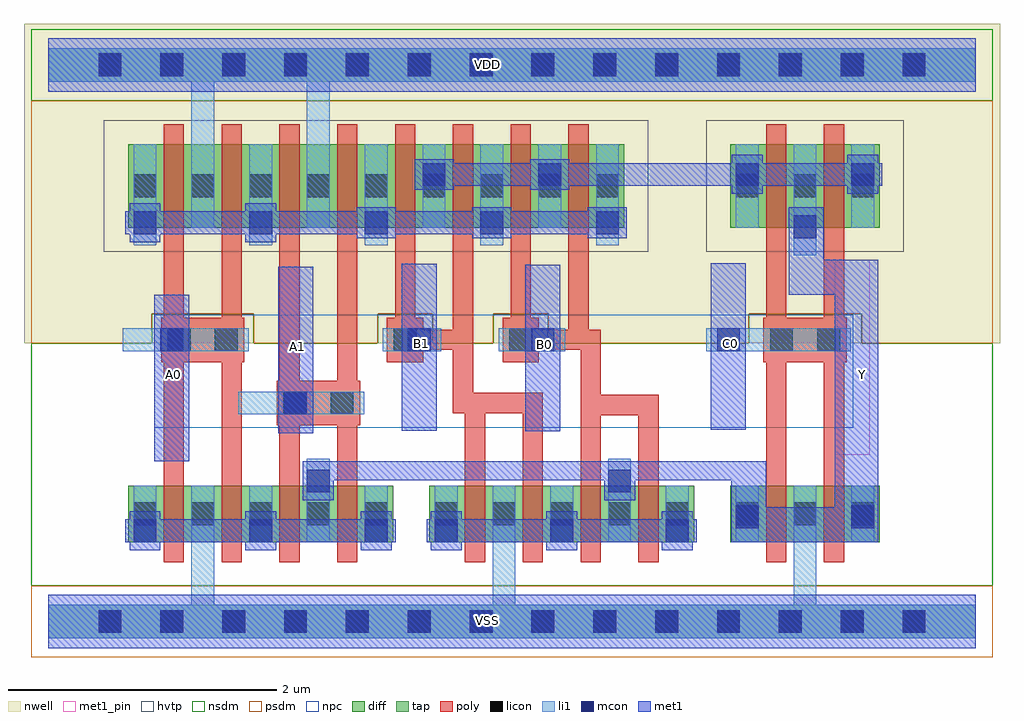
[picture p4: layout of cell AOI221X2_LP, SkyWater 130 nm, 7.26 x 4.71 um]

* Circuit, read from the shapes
.subckt AOI221X2_LP A0 A1 B0 B1 C0 VDD VSS Y
XM1 VSS A0 n1 VSS sky130_fd_pr__nfet_01v8 w=0.42 l=0.15 m=2
XM2 Y A1 n1 VSS sky130_fd_pr__nfet_01v8 w=0.42 l=0.15 m=2
XM3 VSS B1 n2 VSS sky130_fd_pr__nfet_01v8 w=0.42 l=0.15 m=2
XM4 Y B0 n2 VSS sky130_fd_pr__nfet_01v8 w=0.42 l=0.15 m=2
XM5 VSS C0 Y VSS sky130_fd_pr__nfet_01v8 w=0.42 l=0.15 m=2
XM6 VDD A0 n3 VDD sky130_fd_pr__pfet_01v8_hvt w=0.62 l=0.15 m=2
XM7 VDD A1 n3 VDD sky130_fd_pr__pfet_01v8_hvt w=0.62 l=0.15 m=2
XM8 n4 B1 n3 VDD sky130_fd_pr__pfet_01v8_hvt w=0.62 l=0.15 m=2
XM9 n4 B0 n3 VDD sky130_fd_pr__pfet_01v8_hvt w=0.62 l=0.15 m=2
XM10 Y C0 n4 VDD sky130_fd_pr__pfet_01v8_hvt w=0.62 l=0.15 m=2
.ends

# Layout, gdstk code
from math import pi, radians
import gdstk
lib = gdstk.Library(unit=1e-6, precision=1e-09)
def R(c, l, rs):  # rectangles x0, y0, x1, y1
    for r in rs: c.add(gdstk.rectangle(r[:2], r[2:], *l))
def A(c, l, x, y, w, h, nx, ny, dx, dy):  # array of equal rectangles
    R(c, l, [(x+i*dx, y+j*dy, x+i*dx+w, y+j*dy+h) for i in range(nx) for j in range(ny)])
def P(c, l, *ps):  # polygons
    for p in ps: c.add(gdstk.Polygon(p, *l))
nwell = (64, 20)
diff = (65, 20)
tap = (65, 44)
poly = (66, 20)
licon = (66, 44)
li1 = (67, 20)
mcon = (67, 44)
met1_pin = (68, 16)
met1 = (68, 20)
hvtp = (78, 44)
nsdm = (93, 44)
psdm = (94, 20)
npc = (95, 20)

l1m1_c_cdns_752016907009 = lib.new_cell('L1M1_C_CDNS_752016907009')
R(l1m1_c_cdns_752016907009, li1, [(-0.085,-0.165,0.085,0.085)])
R(l1m1_c_cdns_752016907009, mcon, [(-0.085,-0.085,0.085,0.085)])
R(l1m1_c_cdns_752016907009, met1, [(-0.115,-0.145,0.115,0.145)])

pyl1con_c_cdns_752016907 = lib.new_cell('PYL1CON_C_CDNS_752016907000')
R(pyl1con_c_cdns_752016907, poly, [(-0.135,-0.165,0.135,0.165)])
R(pyl1con_c_cdns_752016907, licon, [(-0.085,-0.085,0.085,0.085)])
R(pyl1con_c_cdns_752016907, npc, [(-0.185,-0.185,0.185,0.185)])

l1m1_c_cdns_752016907003 = lib.new_cell('L1M1_C_CDNS_752016907003')
R(l1m1_c_cdns_752016907003, li1, [(-0.165,-0.085,0.165,0.085)])
R(l1m1_c_cdns_752016907003, mcon, [(-0.085,-0.085,0.085,0.085)])
R(l1m1_c_cdns_752016907003, met1, [(-0.115,-0.145,0.115,0.145)])

l1m1_c_cdns_752016907001 = lib.new_cell('L1M1_C_CDNS_752016907001')
R(l1m1_c_cdns_752016907001, li1, [(-0.085,-0.165,0.085,0.165)])
R(l1m1_c_cdns_752016907001, mcon, [(-0.085,-0.085,0.085,0.085)])
R(l1m1_c_cdns_752016907001, met1, [(-0.115,-0.145,0.115,0.145)])

l1m1_c_cdns_752016907006 = lib.new_cell('L1M1_C_CDNS_752016907006')
R(l1m1_c_cdns_752016907006, li1, [(-0.085,-0.165,0.085,0.165)])
R(l1m1_c_cdns_752016907006, mcon, [(-0.085,-0.085,0.085,0.085)])
R(l1m1_c_cdns_752016907006, met1, [(-0.145,-0.115,0.145,0.115)])

aoi221x2_lp = lib.new_cell('AOI221X2_LP')
R(aoi221x2_lp, nwell, [(-0.18,2.07,7.08,4.445)])
R(aoi221x2_lp, diff, [(0.595,0.59,2.565,1.01), (2.835,0.59,4.805,1.01), (5.075,0.59,6.185,1.01), (0.595,2.93,4.285,3.55), (5.075,2.93,6.185,3.55)])
P(aoi221x2_lp, poly, [(1.44,3.7),(1.29,3.7),(1.29,2.26),(1.01,2.26),(1.01,3.7),(0.86,3.7),(0.86,0.44),(1.01,0.44),(1.01,1.93),(1.29,1.93),(1.29,0.44),(1.44,0.44)],
  [(2.3,3.7),(2.15,3.7),(2.15,1.79),(1.87,1.79),(1.87,3.7),(1.72,3.7),(1.72,0.44),(1.87,0.44),(1.87,1.46),(2.15,1.46),(2.15,0.44),(2.3,0.44)],
  [(3.68,1.7),(3.16,1.7),(3.16,3.7),(3.01,3.7),(3.01,2.17),(2.73,2.17),(2.73,3.7),(2.58,3.7),(2.58,2.02),(3.01,2.02),(3.01,1.55),(3.1,1.55),(3.1,0.44),(3.25,0.44),(3.25,1.55),(3.53,1.55),(3.53,0.44),(3.68,0.44)],
  [(4.54,1.685),(4.11,1.685),(4.11,2.17),(4.02,2.17),(4.02,3.7),(3.87,3.7),(3.87,2.17),(3.59,2.17),(3.59,3.7),(3.44,3.7),(3.44,2.02),(3.96,2.02),(3.96,0.44),(4.11,0.44),(4.11,1.535),(4.39,1.535),(4.39,0.44),(4.54,0.44)],
  [(5.92,3.7),(5.77,3.7),(5.77,2.26),(5.49,2.26),(5.49,3.7),(5.34,3.7),(5.34,0.44),(5.49,0.44),(5.49,1.93),(5.77,1.93),(5.77,0.44),(5.92,0.44)])
A(aoi221x2_lp, licon, 0.375, -0.085, 0.17, 0.17, 14, 2, 0.46, 4.14)
A(aoi221x2_lp, licon, 0.635, 0.715, 0.17, 0.17, 5, 1, 0.43, 0)
A(aoi221x2_lp, licon, 2.875, 0.715, 0.17, 0.17, 5, 1, 0.43, 0)
A(aoi221x2_lp, licon, 5.115, 0.715, 0.17, 0.17, 3, 2, 0.43, 2.44)
A(aoi221x2_lp, licon, 0.635, 3.155, 0.17, 0.17, 9, 1, 0.43, 0)
A(aoi221x2_lp, li1, 1.495, 0.59, 0.17, 0.42, 3, 1, 0.43, 0)
A(aoi221x2_lp, li1, 3.735, 0.59, 0.17, 0.42, 3, 1, 0.43, 0)
A(aoi221x2_lp, li1, 0.635, 2.93, 0.17, 0.62, 3, 1, 0.86, 0)
A(aoi221x2_lp, li1, 2.785, 2.93, 0.17, 0.62, 4, 1, 0.43, 0)
R(aoi221x2_lp, li1, [(0.635,0.59,0.805,1.01), (2.875,0.59,3.045,1.01), (5.115,0.59,5.285,1.01), (5.975,0.59,6.145,1.01), (5.545,2.725,5.715,3.55), (5.115,2.93,5.285,3.55), (5.975,2.93,6.145,3.55)])
P(aoi221x2_lp, li1, [(6.9,4.265),(0,4.265),(0,4.015),(1.065,4.015),(1.065,2.93),(1.235,2.93),(1.235,4.015),(1.925,4.015),(1.925,2.93),(2.095,2.93),(2.095,4.015),(6.9,4.015)],
  [(6.9,0.125),(5.715,0.125),(5.715,1.01),(5.545,1.01),(5.545,0.125),(3.475,0.125),(3.475,1.01),(3.305,1.01),(3.305,0.125),(1.235,0.125),(1.235,1.01),(1.065,1.01),(1.065,0.125),(0,0.125),(0,-0.125),(6.9,-0.125)])
A(aoi221x2_lp, mcon, 0.375, -0.085, 0.17, 0.17, 14, 2, 0.46, 4.14)
R(aoi221x2_lp, mcon, [(5.115,0.695,5.285,0.865), (5.975,0.695,6.145,0.865), (5.545,2.85,5.715,3.02)])
R(aoi221x2_lp, met1_pin, [(0.79,1.19,1.05,2.43), (5.85,1.24,6.11,2.69), (1.71,1.4,1.97,2.64), (3.55,1.415,3.81,2.655), (2.63,1.42,2.89,2.66), (4.93,1.425,5.19,2.665)])
P(aoi221x2_lp, met1, [(6.175,2.69),(5.77,2.69),(5.77,3.08),(5.51,3.08),(5.51,2.43),(5.85,2.43),(5.85,0.85),(5.34,0.85),(5.34,1.19),(1.895,1.19),(1.895,1.05),(5.08,1.05),(5.08,0.59),(6.175,0.59)])
R(aoi221x2_lp, hvtp, [(0.415,2.75,4.465,3.73), (4.895,2.75,6.365,3.73)])
R(aoi221x2_lp, nsdm, [(-0.125,3.875,7.025,4.405)])
P(aoi221x2_lp, nsdm, [(7.025,2.07),(6.05,2.07),(6.05,2.29),(5.21,2.29),(5.21,2.07),(3.72,2.07),(3.72,2.29),(3.31,2.29),(3.31,2.07),(2.86,2.07),(2.86,2.29),(2.45,2.29),(2.45,2.07),(1.53,2.07),(1.53,2.29),(0.77,2.29),(0.77,2.07),(-0.125,2.07),(-0.125,0.265),(7.025,0.265)])
R(aoi221x2_lp, psdm, [(-0.125,-0.265,7.025,0.265)])
P(aoi221x2_lp, psdm, [(7.025,3.875),(-0.125,3.875),(-0.125,2.07),(0.77,2.07),(0.77,2.29),(1.53,2.29),(1.53,2.07),(2.45,2.07),(2.45,2.29),(2.86,2.29),(2.86,2.07),(3.31,2.07),(3.31,2.29),(3.72,2.29),(3.72,2.07),(5.21,2.07),(5.21,2.29),(6.05,2.29),(6.05,2.07),(7.025,2.07)])
R(aoi221x2_lp, npc, [(0.79,1.44,5.99,2.28)])
aoi221x2_lp.add(gdstk.FlexPath([(3.765,2.095),(3.35,2.095)], 0.17, ends="flush", simple_path=True, layer=67, datatype=20))  # li1
aoi221x2_lp.add(gdstk.FlexPath([(0.555,2.095),(1.49,2.095)], 0.17, ends="flush", simple_path=True, layer=67, datatype=20))  # li1
aoi221x2_lp.add(gdstk.FlexPath([(1.415,1.625),(2.35,1.625)], 0.17, ends="flush", simple_path=True, layer=67, datatype=20))  # li1
aoi221x2_lp.add(gdstk.FlexPath([(2.905,2.095),(2.49,2.095)], 0.17, ends="flush", simple_path=True, layer=67, datatype=20))  # li1
aoi221x2_lp.add(gdstk.FlexPath([(5.035,2.095),(5.97,2.095)], 0.17, ends="flush", simple_path=True, layer=67, datatype=20))  # li1
aoi221x2_lp.add(gdstk.FlexPath([(0,4.14),(6.9,4.14)], 0.4, ends="flush", simple_path=True, layer=68, datatype=20))  # met1
aoi221x2_lp.add(gdstk.FlexPath([(0,0),(6.9,0)], 0.4, ends="flush", simple_path=True, layer=68, datatype=20))  # met1
aoi221x2_lp.add(gdstk.FlexPath([(5.06,2.665),(5.06,1.425)], 0.26, ends="flush", simple_path=True, layer=68, datatype=20))  # met1
aoi221x2_lp.add(gdstk.FlexPath([(3.68,2.655),(3.68,1.415)], 0.26, ends="flush", simple_path=True, layer=68, datatype=20))  # met1
aoi221x2_lp.add(gdstk.FlexPath([(2.76,2.66),(2.76,1.42)], 0.26, ends="flush", simple_path=True, layer=68, datatype=20))  # met1
aoi221x2_lp.add(gdstk.FlexPath([(1.84,2.64),(1.84,1.4)], 0.26, ends="flush", simple_path=True, layer=68, datatype=20))  # met1
aoi221x2_lp.add(gdstk.FlexPath([(2.815,0.675),(4.825,0.675)], 0.17, ends="flush", simple_path=True, layer=68, datatype=20))  # met1
aoi221x2_lp.add(gdstk.FlexPath([(0.575,0.675),(2.585,0.675)], 0.17, ends="flush", simple_path=True, layer=68, datatype=20))  # met1
aoi221x2_lp.add(gdstk.FlexPath([(0.575,2.965),(4.305,2.965)], 0.17, ends="flush", simple_path=True, layer=68, datatype=20))  # met1
aoi221x2_lp.add(gdstk.FlexPath([(2.725,3.325),(6.205,3.325)], 0.17, ends="flush", simple_path=True, layer=68, datatype=20))  # met1
aoi221x2_lp.add(gdstk.FlexPath([(0.92,2.43),(0.92,1.19)], 0.26, ends="flush", simple_path=True, layer=68, datatype=20))  # met1
aoi221x2_lp.add(gdstk.FlexPath([(0,4.14),(6.9,4.14)], 0.4, ends="flush", simple_path=True, layer=68, datatype=16))  # met1_pin
aoi221x2_lp.add(gdstk.FlexPath([(0,0),(6.9,0)], 0.4, ends="flush", simple_path=True, layer=68, datatype=16))  # met1_pin
aoi221x2_lp.add(gdstk.FlexPath([(0,4.14),(6.9,4.14)], 0.25, ends="flush", simple_path=True, layer=65, datatype=44))  # tap
aoi221x2_lp.add(gdstk.FlexPath([(0,0),(6.9,0)], 0.25, ends="flush", simple_path=True, layer=65, datatype=44))  # tap
aoi221x2_lp.add(gdstk.Reference(l1m1_c_cdns_752016907009, (2.44,0.675), x_reflection=True))
aoi221x2_lp.add(gdstk.Reference(l1m1_c_cdns_752016907009, (4.68,0.675), x_reflection=True))
aoi221x2_lp.add(gdstk.Reference(l1m1_c_cdns_752016907009, (3.82,0.675), x_reflection=True))
aoi221x2_lp.add(gdstk.Reference(l1m1_c_cdns_752016907009, (2.96,0.675), x_reflection=True))
aoi221x2_lp.add(gdstk.Reference(l1m1_c_cdns_752016907009, (1.58,0.675), x_reflection=True))
aoi221x2_lp.add(gdstk.Reference(l1m1_c_cdns_752016907009, (0.72,0.675), x_reflection=True))
aoi221x2_lp.add(gdstk.Reference(pyl1con_c_cdns_752016907, (5.455,2.095), rotation=pi, x_reflection=True))
aoi221x2_lp.add(gdstk.Reference(pyl1con_c_cdns_752016907, (5.805,2.095), rotation=pi, x_reflection=True))
aoi221x2_lp.add(gdstk.Reference(pyl1con_c_cdns_752016907, (3.515,2.095), rotation=pi, x_reflection=True))
aoi221x2_lp.add(gdstk.Reference(pyl1con_c_cdns_752016907, (2.655,2.095), rotation=pi, x_reflection=True))
aoi221x2_lp.add(gdstk.Reference(pyl1con_c_cdns_752016907, (1.835,1.625), rotation=pi, x_reflection=True))
aoi221x2_lp.add(gdstk.Reference(pyl1con_c_cdns_752016907, (2.185,1.625), rotation=pi, x_reflection=True))
aoi221x2_lp.add(gdstk.Reference(pyl1con_c_cdns_752016907, (1.325,2.095), rotation=pi, x_reflection=True))
aoi221x2_lp.add(gdstk.Reference(pyl1con_c_cdns_752016907, (0.975,2.095), rotation=pi, x_reflection=True))
aoi221x2_lp.add(gdstk.Reference(l1m1_c_cdns_752016907003, (5.06,2.095)))
aoi221x2_lp.add(gdstk.Reference(l1m1_c_cdns_752016907003, (3.68,2.095)))
aoi221x2_lp.add(gdstk.Reference(l1m1_c_cdns_752016907003, (2.76,2.095)))
aoi221x2_lp.add(gdstk.Reference(l1m1_c_cdns_752016907003, (1.84,1.625)))
aoi221x2_lp.add(gdstk.Reference(l1m1_c_cdns_752016907003, (0.92,2.095)))
aoi221x2_lp.add(gdstk.Reference(l1m1_c_cdns_752016907001, (6.06,3.325), x_reflection=True))
aoi221x2_lp.add(gdstk.Reference(l1m1_c_cdns_752016907001, (5.2,3.325), x_reflection=True))
aoi221x2_lp.add(gdstk.Reference(l1m1_c_cdns_752016907001, (4.25,1.045), x_reflection=True))
aoi221x2_lp.add(gdstk.Reference(l1m1_c_cdns_752016907001, (0.72,2.965), x_reflection=True))
aoi221x2_lp.add(gdstk.Reference(l1m1_c_cdns_752016907001, (1.58,2.965), x_reflection=True))
aoi221x2_lp.add(gdstk.Reference(l1m1_c_cdns_752016907001, (2.01,1.045), x_reflection=True))
aoi221x2_lp.add(gdstk.Reference(l1m1_c_cdns_752016907006, (3.73,3.325), x_reflection=True))
aoi221x2_lp.add(gdstk.Reference(l1m1_c_cdns_752016907006, (3.3,2.965), x_reflection=True))
aoi221x2_lp.add(gdstk.Reference(l1m1_c_cdns_752016907006, (2.44,2.965), x_reflection=True))
aoi221x2_lp.add(gdstk.Reference(l1m1_c_cdns_752016907006, (2.87,3.325), x_reflection=True))
aoi221x2_lp.add(gdstk.Reference(l1m1_c_cdns_752016907006, (4.16,2.965), x_reflection=True))
aoi221x2_lp.add(gdstk.Label('VDD', (3.265,4.145), layer=68, texttype=5))
aoi221x2_lp.add(gdstk.Label('Y', (6.055,1.835), layer=68, texttype=5))
aoi221x2_lp.add(gdstk.Label('A1', (1.855,2.045), layer=68, texttype=5))
aoi221x2_lp.add(gdstk.Label('C0', (5.075,2.07), layer=68, texttype=5))
aoi221x2_lp.add(gdstk.Label('B0', (3.695,2.06), layer=68, texttype=5))
aoi221x2_lp.add(gdstk.Label('B1', (2.775,2.065), layer=68, texttype=5))
aoi221x2_lp.add(gdstk.Label('A0', (0.935,1.84), layer=68, texttype=5))
aoi221x2_lp.add(gdstk.Label('VSS', (3.265,0.005), layer=68, texttype=5))

lib.write_gds('AOI221X2_LP.gds')
